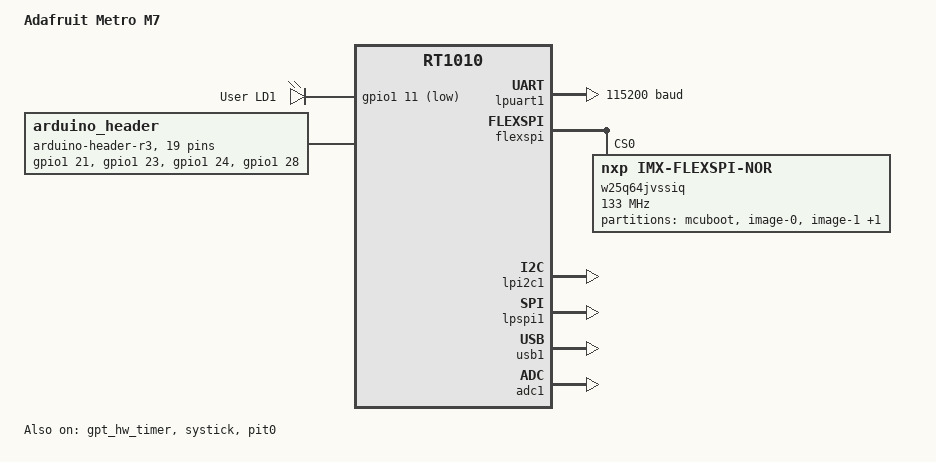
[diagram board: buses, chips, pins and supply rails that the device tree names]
/*
 * Copyright (c) 2023 TiaC Systems
 * Copyright (c) 2019, 2023-2024, NXP
 * Copyright (c) 2024, George White
 *
 * SPDX-License-Identifier: Apache-2.0
 */

/dts-v1/;

#include <nxp/nxp_rt1010.dtsi>
#include "metro_m7-pinctrl.dtsi"
#include <zephyr/dt-bindings/input/input-event-codes.h>

/ {
	model = "Adafruit Metro M7";
	compatible = "adafruit,metro_m7";

	aliases {
		led0 = &green_led; // TODO
	};

	chosen {
		zephyr,sram = &ocram;
		zephyr,itcm = &itcm;
		zephyr,dtcm = &dtcm;
		zephyr,console = &lpuart1;
		zephyr,shell-uart = &lpuart1;
		zephyr,flash = &w25q64jvssiq;
		zephyr,flash-controller = &w25q64jvssiq;
		zephyr,code-partition = &slot0_partition;
		zephyr,uart-mcumgr = &lpuart1;
	};

	leds { // TODO
		compatible = "gpio-leds";
		green_led: led-1 {
			gpios = <&gpio1 11 GPIO_ACTIVE_LOW>;
			label = "User LD1";
		};
	};

	arduino_header: connector {
		compatible = "arduino-header-r3";
		#gpio-cells = <2>;
		gpio-map-mask = <0xffffffff 0xffffffc0>;
		gpio-map-pass-thru = <0 0x3f>;
		gpio-map = <0 0 &gpio1 21 0>,	/* A0 */
			   <1 0 &gpio1 23 0>,	/* A1 */
			   <2 0 &gpio1 24 0>,	/* A2 */
			   <3 0 &gpio1 28 0>,	/* A3 */
			   <4 0 &gpio1 15 0>,	/* A4 (shared with D6) */
			   <5 0 &gpio1 16 0>,	/* A5 (shared with D7) */
			   <6 0 &gpio1 9 0>,	/* D0 */
			   <7 0 &gpio1 10 0>,	/* D1 */
			   <8 0 &gpio1 19 0>,	/* D2 (shared with D10) */
			   <9 0 &gpio1 20 0>,	/* D3 (shared with D13) */
			   /* R800 not populated,  D4 */
			   /* R793 not populated,  D5 (shared with D14) */
			   <12 0 &gpio1 15 0>,	/* D6 (shared with A4) */
			   <13 0 &gpio1 16 0>,	/* D7 (shared with A5) */
			   <14 0 &gpio2 2 0>,	/* D8 */
			   /* R795 not populated,  D9 */
			   <16 0 &gpio1 19 0>,	/* D10 (shared with D2) */
			   <17 0 &gpio1 18 0>,	/* D11 */
			   <18 0 &gpio1 17 0>,	/* D12 */
			   <19 0 &gpio1 20 0>,	/* D13 (shared with D3) */
			   <20 0 &gpio1 1 0>,	/* D14 */
			   <21 0 &gpio1 2 0>;	/* D15 */
	};
};

arduino_serial: &lpuart1 {};

&lpuart4 {
	pinctrl-0 = <&pinmux_lpuart4>;
	pinctrl-1 = <&pinmux_lpuart4_sleep>;
	pinctrl-names = "default", "sleep";
};

&flexspi {
	status = "okay";
	reg = <0x402a8000 0x4000>, <0x60000000 DT_SIZE_M(8)>;
	w25q64jvssiq: w25q64jvssiq@0 {
		compatible = "nxp,imx-flexspi-nor";
		size = <(DT_SIZE_M(8) * 8)>;
		reg = <0>;
		spi-max-frequency = <DT_FREQ_M(133)>;
		status = "okay";
		jedec-id = [ef 70 17];
		erase-block-size = <4096>;
		write-block-size = <1>;
		cs-interval-unit = <1>;
		cs-interval = <2>;
		cs-hold-time = <3>;
		cs-setup-time = <3>;
		data-valid-time = <2>;
		column-space = <0>;

		partitions {
			compatible = "fixed-partitions";
			#address-cells = <1>;
			#size-cells = <1>;
			boot_partition: partition@0 {
				label = "mcuboot";
				reg = <0x00000000 DT_SIZE_K(128)>;
			};
			/* The MCUBoot swap-move algorithm uses the last 2 sectors
			 * of the primary slot0 for swap status and move.
			 */
			slot0_partition: partition@20000 {
				label = "image-0";
				reg = <0x00020000 (DT_SIZE_M(3) + DT_SIZE_K(8))>;
			};
			slot1_partition: partition@322000 {
				label = "image-1";
				reg = <0x00322000 DT_SIZE_M(3)>;
			};
			storage_partition: partition@622000 {
				label = "storage";
				reg = <0x00622000 (DT_SIZE_M(2) - DT_SIZE_K(136))>;
			};
		};
	};
};

arduino_i2c: &lpi2c1 {
	status = "okay";
	pinctrl-0 = <&pinmux_lpi2c1>;
	pinctrl-names = "default";
};

&lpuart1 {
	status = "okay";
	current-speed = <115200>;
	pinctrl-0 = <&pinmux_lpuart1>;
	pinctrl-1 = <&pinmux_lpuart1_sleep>;
	pinctrl-names = "default", "sleep";
};

arduino_spi: &lpspi1 {
	status = "okay";
	/* DMA channels 0 and 1, muxed to LPSPI1 RX and TX */
	dmas = <&edma0 0 13>, <&edma0 1 14>;
	dma-names = "rx", "tx";
	pinctrl-0 = <&pinmux_lpspi1>;
	pinctrl-names = "default";
};

zephyr_udc0: &usb1 {
	status = "okay";
};

&adc1 {
	status = "okay";
	pinctrl-0 = <&pinmux_adc1>;
	pinctrl-names = "default";
};

&sai1 {
	pinctrl-0 = <&pinmux_sai1>;
	pinctrl-names = "default";
};

&edma0 {
	status = "okay";
};

/* GPT and Systick are enabled. If power management is enabled, the GPT
 * timer will be used instead of systick, as allows the core clock to
 * be gated.
 */
&gpt_hw_timer {
	status = "okay";
};

&systick {
	status = "okay";
};

&pit0 {
	status = "okay";
};
